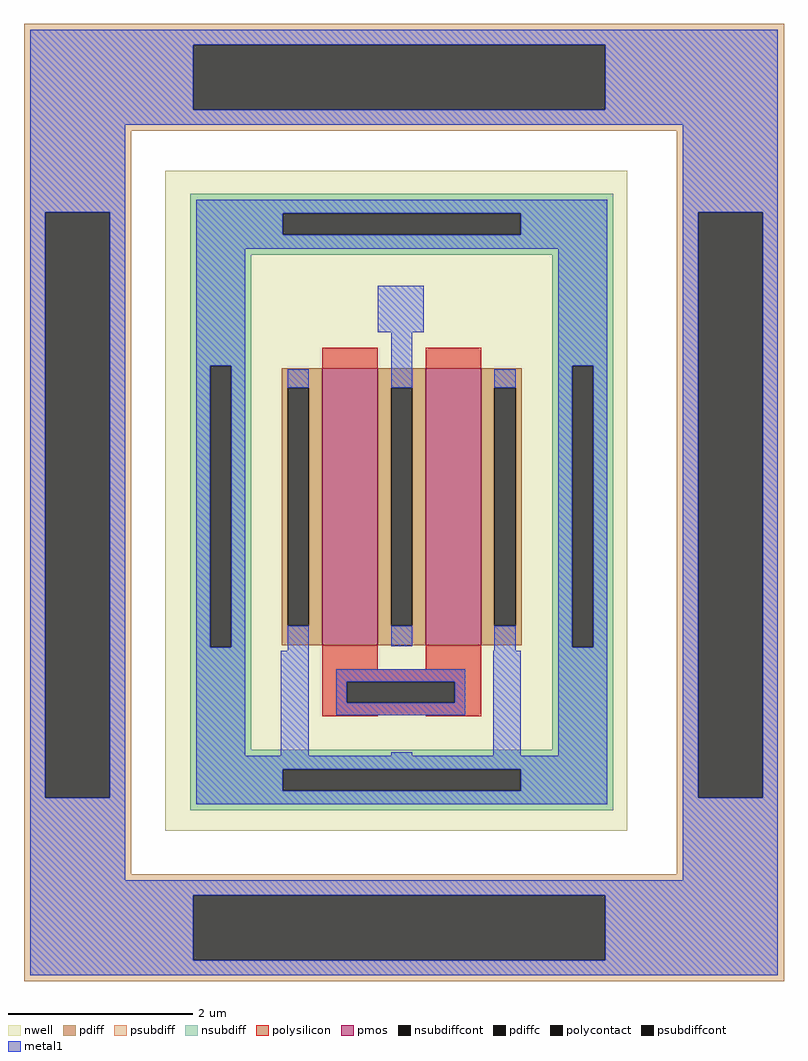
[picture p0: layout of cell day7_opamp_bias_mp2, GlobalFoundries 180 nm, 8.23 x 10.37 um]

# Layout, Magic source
magic
tech gf180mcuD
magscale 1 10
<< nwell >>
rect 2580 -6050 3580 -4620
<< pmos >>
rect 2920 -5648 3040 -5048
rect 3144 -5648 3264 -5048
<< pdiff >>
rect 2832 -5090 2920 -5048
rect 2832 -5606 2845 -5090
rect 2891 -5606 2920 -5090
rect 2832 -5648 2920 -5606
rect 3040 -5090 3144 -5048
rect 3040 -5606 3069 -5090
rect 3115 -5606 3144 -5090
rect 3040 -5648 3144 -5606
rect 3264 -5090 3352 -5048
rect 3264 -5606 3293 -5090
rect 3339 -5606 3352 -5090
rect 3264 -5648 3352 -5606
<< pdiffc >>
rect 2845 -5606 2891 -5090
rect 3069 -5606 3115 -5090
rect 3293 -5606 3339 -5090
<< psubdiff >>
rect 2274 -4348 3920 -4302
rect 2274 -4488 2641 -4348
rect 3533 -4488 3920 -4348
rect 2274 -4534 3920 -4488
rect 2274 -4710 2506 -4534
rect 2274 -5978 2320 -4710
rect 2460 -5978 2506 -4710
rect 2274 -6144 2506 -5978
rect 3688 -4710 3920 -4534
rect 3688 -5978 3734 -4710
rect 3874 -5978 3920 -4710
rect 3688 -6144 3920 -5978
rect 2274 -6190 3920 -6144
rect 2274 -6330 2641 -6190
rect 3533 -6330 3920 -6190
rect 2274 -6376 3920 -6330
<< nsubdiff >>
rect 2634 -4713 3550 -4670
rect 2634 -4759 2834 -4713
rect 3350 -4759 3550 -4713
rect 2634 -4802 3550 -4759
rect 2634 -5043 2766 -4802
rect 2634 -5653 2677 -5043
rect 2723 -5653 2766 -5043
rect 3418 -5043 3550 -4802
rect 2634 -5874 2766 -5653
rect 3418 -5653 3461 -5043
rect 3507 -5653 3550 -5043
rect 3418 -5874 3550 -5653
rect 2634 -5917 3550 -5874
rect 2634 -5963 2834 -5917
rect 3350 -5963 3550 -5917
rect 2634 -6006 3550 -5963
<< psubdiffcont >>
rect 2641 -4488 3533 -4348
rect 2320 -5978 2460 -4710
rect 3734 -5978 3874 -4710
rect 2641 -6330 3533 -6190
<< nsubdiffcont >>
rect 2834 -4759 3350 -4713
rect 2677 -5653 2723 -5043
rect 3461 -5653 3507 -5043
rect 2834 -5963 3350 -5917
<< polysilicon >>
rect 2920 -5048 3040 -5004
rect 3144 -5048 3264 -5004
rect 2920 -5700 3040 -5648
rect 3144 -5700 3264 -5648
rect 2920 -5727 3264 -5700
rect 2920 -5773 2973 -5727
rect 3207 -5773 3264 -5727
rect 2920 -5800 3264 -5773
rect 2920 -5802 3040 -5800
rect 3144 -5802 3264 -5800
<< polycontact >>
rect 2973 -5773 3207 -5727
<< metal1 >>
rect 2287 -4348 3907 -4315
rect 2287 -4488 2641 -4348
rect 3533 -4488 3907 -4348
rect 2287 -4521 3907 -4488
rect 2287 -4710 2493 -4521
rect 2287 -5978 2320 -4710
rect 2460 -5978 2493 -4710
rect 2287 -6157 2493 -5978
rect 2647 -4713 3537 -4683
rect 2647 -4759 2834 -4713
rect 3350 -4759 3537 -4713
rect 2647 -4789 3537 -4759
rect 2647 -5043 2753 -4789
rect 3040 -4970 3140 -4870
rect 2647 -5653 2677 -5043
rect 2723 -5653 2753 -5043
rect 2647 -5887 2753 -5653
rect 2845 -5090 2891 -5050
rect 2845 -5660 2891 -5606
rect 3069 -5090 3115 -4970
rect 3431 -5043 3537 -4789
rect 3069 -5650 3115 -5606
rect 3293 -5090 3339 -5050
rect 3293 -5660 3339 -5606
rect 3431 -5653 3461 -5043
rect 3507 -5653 3537 -5043
rect 2830 -5887 2891 -5660
rect 2950 -5727 3230 -5700
rect 2950 -5773 2973 -5727
rect 3207 -5773 3230 -5727
rect 2950 -5800 3230 -5773
rect 3069 -5887 3115 -5880
rect 3290 -5887 3350 -5660
rect 3431 -5887 3537 -5653
rect 2647 -5917 3537 -5887
rect 2647 -5963 2834 -5917
rect 3350 -5963 3537 -5917
rect 2647 -5993 3537 -5963
rect 3701 -4710 3907 -4521
rect 3701 -5978 3734 -4710
rect 3874 -5978 3907 -4710
rect 3701 -6157 3907 -5978
rect 2287 -6190 3907 -6157
rect 2287 -6330 2641 -6190
rect 3533 -6330 3907 -6190
rect 2287 -6363 3907 -6330
<< end >>
